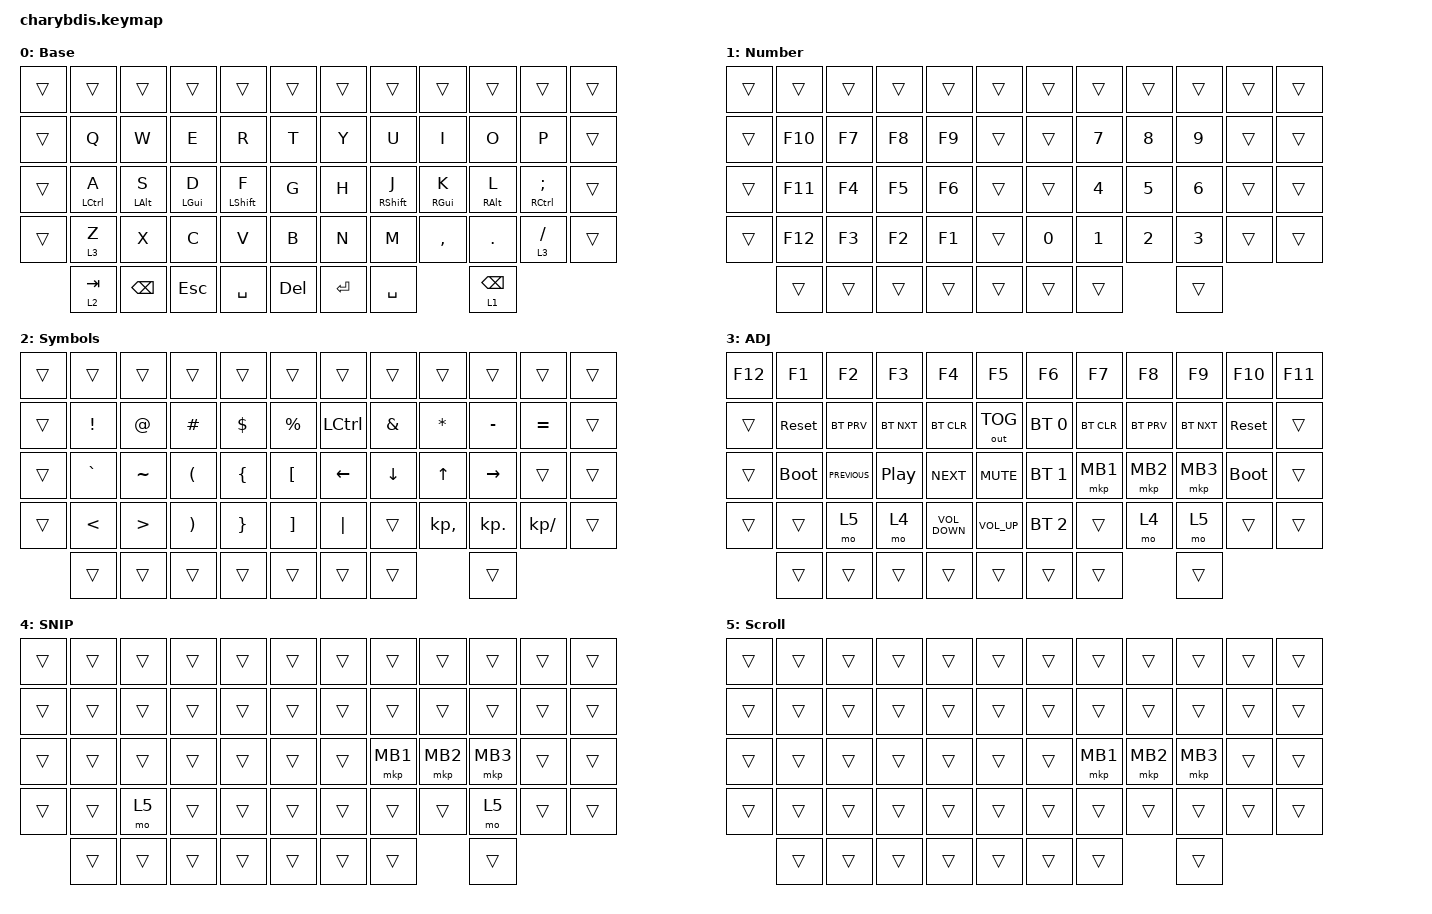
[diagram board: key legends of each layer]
#include <dt-bindings/zmk/mouse.h>
#include <behaviors/mouse_keys.dtsi>
#include <behaviors.dtsi>
#include <dt-bindings/zmk/bt.h>
#include <dt-bindings/zmk/keys.h>
#include <dt-bindings/zmk/outputs.h>
#include <dt-bindings/zmk/pointing.h>

/ {
    chosen { zmk,matrix_transform = &default_transform; };
};

&mt {
    quick-tap-ms = <200>;
    flavor = "tap-preferred";
    tapping-term-ms = <170>;
};

&lt {
    quick-tap-ms = <200>;
    flavor = "tap-preferred";
    tapping-term-ms = <170>;
};

/ {
    combos {
        compatible = "zmk,combos";

        combo-russian-x-letter {
            bindings = <&kp LEFT_BRACKET>;
            key-positions = <21 22>;
            layers = <0>;
        };

        combo-russian-e-letter {
            bindings = <&kp SQT>;
            key-positions = <33 34>;
            layers = <0>;
        };

        ESC_combo {
            bindings = <&kp ESC>;
            key-positions = <14 15>;
            layers = <0>;
        };

        tab_combo {
            bindings = <&kp TAB>;
            key-positions = <38 39>;
            layers = <0>;
        };
    };

    keymap {
        compatible = "zmk,keymap";

        Base {
            bindings = <
&trans  &trans       &trans         &trans      &trans        &trans   &trans             &trans        &trans      &trans           &trans          &trans
&trans  &kp Q        &kp W          &kp E       &kp R         &kp T                &kp Y  &kp U         &kp I       &kp O            &kp P           &trans
&trans  &mt LCTRL A  &mt LALT S     &mt LGUI D  &mt LSHIFT F  &kp G                &kp H  &mt RSHIFT J  &mt RGUI K  &mt RALT L       &mt RCTRL SEMI  &trans
&trans  &lt 3 Z      &kp X          &kp C       &kp V         &kp B                &kp N  &kp M         &kp COMMA   &kp DOT          &lt 3 SLASH     &trans
        &lt 2 TAB    &kp BACKSPACE  &kp ESC     &kp SPACE     &kp DEL  &kp RETURN         &kp SPACE                 &lt 1 BACKSPACE
            >;
        };

        Number {
            bindings = <
&trans  &trans   &trans  &trans  &trans  &trans  &trans          &trans  &trans  &trans  &trans  &trans
&trans  &kp F10  &kp F7  &kp F8  &kp F9  &trans          &trans  &kp N7  &kp N8  &kp N9  &trans  &trans
&trans  &kp F11  &kp F4  &kp F5  &kp F6  &trans          &trans  &kp N4  &kp N5  &kp N6  &trans  &trans
&trans  &kp F12  &kp F3  &kp F2  &kp F1  &trans          &kp N0  &kp N1  &kp N2  &kp N3  &trans  &trans
        &trans   &trans  &trans  &trans  &trans  &trans          &trans          &trans
            >;
        };

        Symbols {
            bindings = <
&trans  &trans           &trans            &trans                 &trans           &trans       &trans             &trans         &trans        &trans      &trans         &trans
&trans  &kp EXCLAMATION  &kp AT_SIGN       &kp HASH               &kp DOLLAR       &kp PERCENT          &kp LCTRL  &kp AMPERSAND  &kp ASTERISK  &kp MINUS   &kp EQUAL      &trans
&trans  &kp GRAVE        &kp TILDE         &kp LEFT_PARENTHESIS   &kp LEFT_BRACE   &kp LBKT             &kp LEFT   &kp DOWN       &kp UP        &kp RIGHT   &trans         &trans
&trans  &kp LESS_THAN    &kp GREATER_THAN  &kp RIGHT_PARENTHESIS  &kp RIGHT_BRACE  &kp RBKT             &kp PIPE   &trans         &kp KP_COMMA  &kp KP_DOT  &kp KP_DIVIDE  &trans
        &trans           &trans            &trans                 &trans           &trans       &trans             &trans                       &trans
            >;
        };

        ADJ {
            bindings = <
&kp F12  &kp F1       &kp F2          &kp F3            &kp F4             &kp F5           &kp F6                &kp F7      &kp F8      &kp F9      &kp F10      &kp F11
&trans   &sys_reset   &bt BT_PRV      &bt BT_NXT        &bt BT_CLR         &out OUT_TOG             &bt BT_SEL 0  &bt BT_CLR  &bt BT_PRV  &bt BT_NXT  &sys_reset   &trans
&trans   &bootloader  &kp C_PREVIOUS  &kp C_PLAY_PAUSE  &kp C_NEXT         &kp C_MUTE               &bt BT_SEL 1  &mkp MB1    &mkp MB2    &mkp MB3    &bootloader  &trans
&trans   &trans       &mo 5           &mo 4             &kp C_VOLUME_DOWN  &kp C_VOLUME_UP          &bt BT_SEL 2  &trans      &mo 4       &mo 5       &trans       &trans
         &trans       &trans          &trans            &trans             &trans           &trans                &trans                  &trans
            >;
        };

        SNIP {
            bindings = <
&trans  &trans  &trans  &trans  &trans  &trans  &trans          &trans    &trans    &trans    &trans  &trans
&trans  &trans  &trans  &trans  &trans  &trans          &trans  &trans    &trans    &trans    &trans  &trans
&trans  &trans  &trans  &trans  &trans  &trans          &trans  &mkp MB1  &mkp MB2  &mkp MB3  &trans  &trans
&trans  &trans  &mo 5   &trans  &trans  &trans          &trans  &trans    &trans    &mo 5     &trans  &trans
        &trans  &trans  &trans  &trans  &trans  &trans          &trans              &trans
            >;
        };

        Scroll {
            bindings = <
&trans  &trans  &trans  &trans  &trans  &trans  &trans          &trans    &trans    &trans    &trans  &trans
&trans  &trans  &trans  &trans  &trans  &trans          &trans  &trans    &trans    &trans    &trans  &trans
&trans  &trans  &trans  &trans  &trans  &trans          &trans  &mkp MB1  &mkp MB2  &mkp MB3  &trans  &trans
&trans  &trans  &trans  &trans  &trans  &trans          &trans  &trans    &trans    &trans    &trans  &trans
        &trans  &trans  &trans  &trans  &trans  &trans          &trans              &trans
            >;
        };
    };
};
